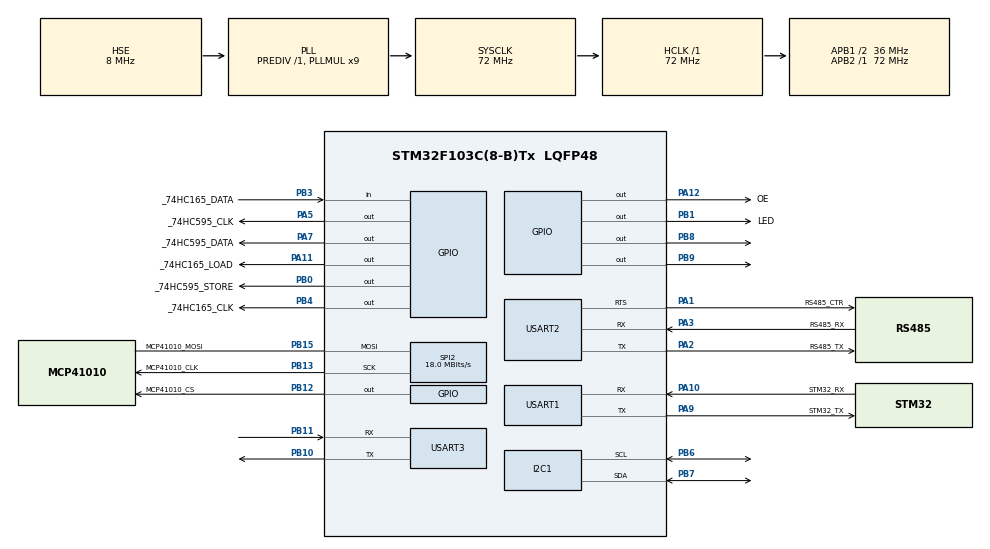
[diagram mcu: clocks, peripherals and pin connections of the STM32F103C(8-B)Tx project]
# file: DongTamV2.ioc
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Dma.Request0=USART1_RX
Dma.Request1=USART3_RX
Dma.USART1_RX.0.Direction=DMA_PERIPH_TO_MEMORY
Dma.USART1_RX.0.Instance=DMA1_Channel5
Dma.USART1_RX.0.MemDataAlignment=DMA_MDATAALIGN_BYTE
Dma.USART1_RX.0.MemInc=DMA_MINC_ENABLE
Dma.USART1_RX.0.Mode=DMA_NORMAL
Dma.USART1_RX.0.PeriphDataAlignment=DMA_PDATAALIGN_BYTE
Dma.USART1_RX.0.PeriphInc=DMA_PINC_DISABLE
Dma.USART1_RX.0.Priority=DMA_PRIORITY_LOW
Dma.USART3_RX.1.Direction=DMA_PERIPH_TO_MEMORY
Dma.USART3_RX.1.Instance=DMA1_Channel3
Dma.USART3_RX.1.MemDataAlignment=DMA_MDATAALIGN_BYTE
Dma.USART3_RX.1.MemInc=DMA_MINC_ENABLE
Dma.USART3_RX.1.Mode=DMA_NORMAL
Dma.USART3_RX.1.PeriphDataAlignment=DMA_PDATAALIGN_BYTE
Dma.USART3_RX.1.PeriphInc=DMA_PINC_DISABLE
Dma.USART3_RX.1.Priority=DMA_PRIORITY_LOW
Mcu.Family=STM32F1
Mcu.Name=STM32F103C(8-B)Tx
Mcu.Package=LQFP48
NVIC.DMA1_Channel3_IRQn=true\:0\:0\:false\:false\:true\:false\:true\:true
NVIC.DMA1_Channel5_IRQn=true\:0\:0\:false\:false\:true\:false\:true\:true
NVIC.I2C1_ER_IRQn=true\:0\:0\:false\:false\:true\:true\:true\:true
NVIC.I2C1_EV_IRQn=true\:0\:0\:false\:false\:true\:true\:true\:true
NVIC.PriorityGroup=NVIC_PRIORITYGROUP_4
NVIC.USART1_IRQn=true\:0\:0\:false\:false\:true\:true\:true\:true
NVIC.USART3_IRQn=true\:0\:0\:false\:false\:true\:true\:true\:true
PA1.GPIO_Label=RS485_CTR
PA1.Mode=RTS_Only
PA1.Signal=USART2_RTS
PA10.GPIO_Label=STM32_RX
PA10.Mode=Asynchronous
PA10.Signal=USART1_RX
PA11.GPIO_Label=_74HC165_LOAD
PA11.Signal=GPIO_Output
PA12.GPIO_Label=OE
PA12.GPIO_ModeDefaultOutputPP=GPIO_MODE_OUTPUT_OD
PA12.GPIO_PuPd=GPIO_NOPULL
PA12.Signal=GPIO_Output
PA13.Mode=Serial_Wire
PA13.Signal=SYS_JTMS-SWDIO
PA14.Mode=Serial_Wire
PA14.Signal=SYS_JTCK-SWCLK
PA2.GPIO_Label=RS485_TX
PA2.Mode=Asynchronous
PA2.Signal=USART2_TX
PA3.GPIO_Label=RS485_RX
PA3.Mode=Asynchronous
PA3.Signal=USART2_RX
PA5.GPIO_Label=_74HC595_CLK
PA5.GPIO_ModeDefaultOutputPP=GPIO_MODE_OUTPUT_PP
PA5.GPIO_PuPd=GPIO_NOPULL
PA5.GPIO_Speed=GPIO_SPEED_FREQ_HIGH
PA5.PinState=GPIO_PIN_RESET
PA5.Signal=GPIO_Output
PA7.GPIO_Label=_74HC595_DATA
PA7.GPIO_ModeDefaultOutputPP=GPIO_MODE_OUTPUT_PP
PA7.GPIO_PuPd=GPIO_NOPULL
PA7.GPIO_Speed=GPIO_SPEED_FREQ_HIGH
PA7.PinState=GPIO_PIN_RESET
PA7.Signal=GPIO_Output
PA9.GPIO_Label=STM32_TX
PA9.Mode=Asynchronous
PA9.Signal=USART1_TX
PB0.GPIO_Label=_74HC595_STORE
PB0.GPIO_ModeDefaultOutputPP=GPIO_MODE_OUTPUT_PP
PB0.GPIO_PuPd=GPIO_NOPULL
PB0.GPIO_Speed=GPIO_SPEED_FREQ_LOW
PB0.PinState=GPIO_PIN_RESET
PB0.Signal=GPIO_Output
PB1.GPIO_Label=LED
PB1.Signal=GPIO_Output
PB10.Mode=Asynchronous
PB10.Signal=USART3_TX
PB11.Mode=Asynchronous
PB11.Signal=USART3_RX
PB12.GPIO_Label=MCP41010_CS
PB12.Signal=GPIO_Output
PB13.GPIO_Label=MCP41010_CLK
PB13.Mode=Simplex_Bidirectional_Master
PB13.Signal=SPI2_SCK
PB15.GPIO_Label=MCP41010_MOSI
PB15.Mode=Simplex_Bidirectional_Master
PB15.Signal=SPI2_MOSI
PB3.GPIO_Label=_74HC165_DATA
PB3.Signal=GPIO_Input
PB4.GPIO_Label=_74HC165_CLK
PB4.Signal=GPIO_Output
PB6.Mode=I2C
PB6.Signal=I2C1_SCL
PB7.Mode=I2C
PB7.Signal=I2C1_SDA
PB8.GPIO_PuPd=GPIO_PULLUP
PB8.Signal=GPIO_Output
PB9.GPIO_PuPd=GPIO_PULLDOWN
PB9.Signal=GPIO_Output
PD0-OSC_IN.Mode=HSE-External-Oscillator
PD0-OSC_IN.Signal=RCC_OSC_IN
PD1-OSC_OUT.Mode=HSE-External-Oscillator
PD1-OSC_OUT.Signal=RCC_OSC_OUT
ProjectManager.HeapSize=0x200
ProjectManager.StackSize=0x400
ProjectManager.TargetToolchain=STM32CubeIDE
RCC.AHBFreq_Value=72000000
RCC.APB1CLKDivider=RCC_HCLK_DIV2
RCC.APB1Freq_Value=36000000
RCC.APB1TimFreq_Value=72000000
RCC.APB2Freq_Value=72000000
RCC.APB2TimFreq_Value=72000000
RCC.HCLKFreq_Value=72000000
RCC.PLLMUL=RCC_PLL_MUL9
RCC.PLLSourceVirtual=RCC_PLLSOURCE_HSE
RCC.SYSCLKFreq_VALUE=72000000
RCC.SYSCLKSource=RCC_SYSCLKSOURCE_PLLCLK
RCC.USBFreq_Value=72000000
SPI2.CalculateBaudRate=18.0 MBits/s
SPI2.Direction=SPI_DIRECTION_1LINE
SPI2.Mode=SPI_MODE_MASTER
SPI2.VirtualType=VM_MASTER
USART1.VirtualMode=VM_ASYNC
USART2.VirtualMode=VM_ASYNC
USART3.VirtualMode=VM_ASYNC
board=custom

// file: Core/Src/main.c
/* USER CODE BEGIN Header */
/**
  ******************************************************************************
  * @file           : main.c
  * @brief          : Main program body
  ******************************************************************************
  * @attention
  *
  * Copyright (c) 2023 STMicroelectronics.
  * All rights reserved.
  *
  * This software is licensed under terms that can be found in the LICENSE file
  * in the root directory of this software component.
  * If no LICENSE file comes with this software, it is provided AS-IS.
  *
  ******************************************************************************
  */
/* USER CODE END Header */
#include "main.h"

/* USER CODE BEGIN Includes */
#include "74HC595.h"
#include "74HC165.h"
#include "PCF8563.h"
#include "DS3231.h"
#include "string.h"
#include "AMS5915.h"
#include "Flag.h"
#include "cJSON.h"
#include "stdio.h"
/* USER CODE END Includes */

/* USER CODE BEGIN PM */
#define MAX_MESSAGE 200
#define FLAG_UART_ESP_RX_DONE (1<<0)
#define FLAG_UART_LOG_RX_DONE (1<<1)

#define FLAG_JSON_PACK_TIME (1<<0)
#define FLAG_JSON_PACK_PRESSURE (1<<1)
#define FLAG_JSON_UNPACK_MESSAGE (1<<2)
#define FLAG_JSON_NEW_MESSAGE (1<<3)
#define FLAG_JSON_GET_VAN_VALUE (1<<4)

#define FLAG_GET_PRESSURE (1<<0)
#define FLAG_SET_TIME (1<<1)
#define FLAG_GET_TIME (1<<2)
#define FLAG_SET_VAN (1<<3)
#define FLAG_CLEAR_VAN (1<<4)
#define FLAG_TRIG_VAN (1<<5)
/* USER CODE END PM */

I2C_HandleTypeDef hi2c1;

SPI_HandleTypeDef hspi2;

UART_HandleTypeDef huart1;
UART_HandleTypeDef huart2;
UART_HandleTypeDef huart3;
DMA_HandleTypeDef hdma_usart1_rx;
DMA_HandleTypeDef hdma_usart3_rx;

/* USER CODE BEGIN PV */
HC595 hc595;
HC165 hc165;
PCF8563_Handle pcfHandle;
AMS5915 ams;
cJSON *cjsCommon;
FlagGroup_t fUART,f1,fJS;
double p;
char TimeString[30];
int SetVan,ClearVan;
bool TrigVan = false;
char uartEsp32Buffer[MAX_MESSAGE],uartLogBuffer[MAX_MESSAGE];
uint16_t uartEsp32RxSize,uartLogRxSize;
/* USER CODE END PV */

void SystemClock_Config(void);
static void MX_GPIO_Init(void);
static void MX_DMA_Init(void);
static void MX_I2C1_Init(void);
static void MX_SPI2_Init(void);
static void MX_USART1_UART_Init(void);
static void MX_USART2_UART_Init(void);
static void MX_USART3_UART_Init(void);
/* USER CODE BEGIN PFP */
void SetUp();
void GetUartJson();
void HandleFlagCommand();
void PackageMessage(cJSON *cjs);
void UnpackMessage(cJSON *cjs);
//void UpdateStatusVan();
//HAL_StatusTypeDef ControlVanAndCheck();
/* USER CODE END PFP */

/* USER CODE BEGIN 0 */
void HAL_I2C_MasterRxCpltCallback(I2C_HandleTypeDef *hi2c)
{
	if(hi2c->Instance == I2C1){
	}
}
void HAL_UARTEx_RxEventCallback(UART_HandleTypeDef *huart, uint16_t Size){
	if(huart->Instance == USART1){
		HAL_UARTEx_ReceiveToIdle_DMA(huart, (uint8_t*)uartEsp32Buffer, MAX_MESSAGE);
		uartEsp32RxSize = Size;
		SETFLAG(fUART,FLAG_UART_ESP_RX_DONE);
	}
	if(huart->Instance == USART3){
		HAL_UARTEx_ReceiveToIdle_DMA(huart, (uint8_t*)uartLogBuffer, MAX_MESSAGE);
		uartLogRxSize = Size;
		SETFLAG(fUART,FLAG_UART_LOG_RX_DONE);
	}
}

void JSON_LOG(char * monitor)
{

}
/* USER CODE END 0 */

int main(void)
{

  /* MCU Configuration--------------------------------------------------------*/

  /* Reset of all peripherals, Initializes the Flash interface and the Systick. */

	HAL_Init();

  /* Configure the system clock */
  SystemClock_Config();

  /* Initialize all configured peripherals */
  MX_GPIO_Init();
  MX_DMA_Init();
  MX_I2C1_Init();
  MX_SPI2_Init();
  MX_USART1_UART_Init();
  MX_USART2_UART_Init();
  MX_USART3_UART_Init();
  /* USER CODE BEGIN 2 */
  SetUp();
  cjsCommon = cJSON_CreateObject();
  /* USER CODE END 2 */

  /* Infinite loop */
  /* USER CODE BEGIN WHILE */
  while (1)
  {
	  GetUartJson();
	  HandleFlagCommand();
	  PackageMessage(cjsCommon);
	  UnpackMessage(cjsCommon);
//	  if(TrigVan == TRUE){
//		  HAL_StatusTypeDef ControlVan();
//	  }
//	  if(!f1 && !fJS && CHECKFLAG(fJS,FLAG_JSON_NEW_MESSAGE)){
//		  cJSON_Delete(cjsCommon);
//	  }
//	AMS5915_ReadRaw(&ams);
//	p = AMS5915_CalPressure(&ams);
//	HAL_Delay(1000);
    /* USER CODE END WHILE */

  }
}

void SystemClock_Config(void)
{
  RCC_OscInitTypeDef RCC_OscInitStruct = {0};
  RCC_ClkInitTypeDef RCC_ClkInitStruct = {0};

  /** Initializes the RCC Oscillators according to the specified parameters
  * in the RCC_OscInitTypeDef structure.
  */
  RCC_OscInitStruct.OscillatorType = RCC_OSCILLATORTYPE_HSE;
  RCC_OscInitStruct.HSEState = RCC_HSE_ON;
  RCC_OscInitStruct.HSEPredivValue = RCC_HSE_PREDIV_DIV1;
  RCC_OscInitStruct.HSIState = RCC_HSI_ON;
  RCC_OscInitStruct.PLL.PLLState = RCC_PLL_ON;
  RCC_OscInitStruct.PLL.PLLSource = RCC_PLLSOURCE_HSE;
  RCC_OscInitStruct.PLL.PLLMUL = RCC_PLL_MUL9;
  if (HAL_RCC_OscConfig(&RCC_OscInitStruct) != HAL_OK)
  {
    Error_Handler();
  }

  /** Initializes the CPU, AHB and APB buses clocks
  */
  RCC_ClkInitStruct.ClockType = RCC_CLOCKTYPE_HCLK|RCC_CLOCKTYPE_SYSCLK
                              |RCC_CLOCKTYPE_PCLK1|RCC_CLOCKTYPE_PCLK2;
  RCC_ClkInitStruct.SYSCLKSource = RCC_SYSCLKSOURCE_PLLCLK;
  RCC_ClkInitStruct.AHBCLKDivider = RCC_SYSCLK_DIV1;
  RCC_ClkInitStruct.APB1CLKDivider = RCC_HCLK_DIV2;
  RCC_ClkInitStruct.APB2CLKDivider = RCC_HCLK_DIV1;

  if (HAL_RCC_ClockConfig(&RCC_ClkInitStruct, FLASH_LATENCY_2) != HAL_OK)
  {
    Error_Handler();
  }
}

static void MX_I2C1_Init(void)
{

  hi2c1.Instance = I2C1;
  hi2c1.Init.ClockSpeed = 100000;
  hi2c1.Init.DutyCycle = I2C_DUTYCYCLE_2;
  hi2c1.Init.OwnAddress1 = 0;
  hi2c1.Init.AddressingMode = I2C_ADDRESSINGMODE_7BIT;
  hi2c1.Init.DualAddressMode = I2C_DUALADDRESS_DISABLE;
  hi2c1.Init.OwnAddress2 = 0;
  hi2c1.Init.GeneralCallMode = I2C_GENERALCALL_DISABLE;
  hi2c1.Init.NoStretchMode = I2C_NOSTRETCH_DISABLE;
  if (HAL_I2C_Init(&hi2c1) != HAL_OK)
  {
    Error_Handler();
  }

}

static void MX_SPI2_Init(void)
{

  /* SPI2 parameter configuration*/
  hspi2.Instance = SPI2;
  hspi2.Init.Mode = SPI_MODE_MASTER;
  hspi2.Init.Direction = SPI_DIRECTION_1LINE;
  hspi2.Init.DataSize = SPI_DATASIZE_8BIT;
  hspi2.Init.CLKPolarity = SPI_POLARITY_LOW;
  hspi2.Init.CLKPhase = SPI_PHASE_1EDGE;
  hspi2.Init.NSS = SPI_NSS_SOFT;
  hspi2.Init.BaudRatePrescaler = SPI_BAUDRATEPRESCALER_2;
  hspi2.Init.FirstBit = SPI_FIRSTBIT_MSB;
  hspi2.Init.TIMode = SPI_TIMODE_DISABLE;
  hspi2.Init.CRCCalculation = SPI_CRCCALCULATION_DISABLE;
  hspi2.Init.CRCPolynomial = 10;
  if (HAL_SPI_Init(&hspi2) != HAL_OK)
  {
    Error_Handler();
  }

}

static void MX_USART1_UART_Init(void)
{

  huart1.Instance = USART1;
  huart1.Init.BaudRate = 115200;
  huart1.Init.WordLength = UART_WORDLENGTH_8B;
  huart1.Init.StopBits = UART_STOPBITS_1;
  huart1.Init.Parity = UART_PARITY_NONE;
  huart1.Init.Mode = UART_MODE_TX_RX;
  huart1.Init.HwFlowCtl = UART_HWCONTROL_NONE;
  huart1.Init.OverSampling = UART_OVERSAMPLING_16;
  if (HAL_UART_Init(&huart1) != HAL_OK)
  {
    Error_Handler();
  }

}

static void MX_USART2_UART_Init(void)
{

  huart2.Instance = USART2;
  huart2.Init.BaudRate = 115200;
  huart2.Init.WordLength = UART_WORDLENGTH_8B;
  huart2.Init.StopBits = UART_STOPBITS_1;
  huart2.Init.Parity = UART_PARITY_NONE;
  huart2.Init.Mode = UART_MODE_TX_RX;
  huart2.Init.HwFlowCtl = UART_HWCONTROL_RTS;
  huart2.Init.OverSampling = UART_OVERSAMPLING_16;
  if (HAL_UART_Init(&huart2) != HAL_OK)
  {
    Error_Handler();
  }

}

static void MX_USART3_UART_Init(void)
{

  huart3.Instance = USART3;
  huart3.Init.BaudRate = 115200;
  huart3.Init.WordLength = UART_WORDLENGTH_8B;
  huart3.Init.StopBits = UART_STOPBITS_1;
  huart3.Init.Parity = UART_PARITY_NONE;
  huart3.Init.Mode = UART_MODE_TX_RX;
  huart3.Init.HwFlowCtl = UART_HWCONTROL_NONE;
  huart3.Init.OverSampling = UART_OVERSAMPLING_16;
  if (HAL_UART_Init(&huart3) != HAL_OK)
  {
    Error_Handler();
  }

}

static void MX_DMA_Init(void)
{

  /* DMA controller clock enable */
  __HAL_RCC_DMA1_CLK_ENABLE();

  /* DMA interrupt init */
  /* DMA1_Channel3_IRQn interrupt configuration */
  HAL_NVIC_SetPriority(DMA1_Channel3_IRQn, 0, 0);
  HAL_NVIC_EnableIRQ(DMA1_Channel3_IRQn);
  /* DMA1_Channel5_IRQn interrupt configuration */
  HAL_NVIC_SetPriority(DMA1_Channel5_IRQn, 0, 0);
  HAL_NVIC_EnableIRQ(DMA1_Channel5_IRQn);

}

static void MX_GPIO_Init(void)
{
  GPIO_InitTypeDef GPIO_InitStruct = {0};

  /* GPIO Ports Clock Enable */
  __HAL_RCC_GPIOC_CLK_ENABLE();
  __HAL_RCC_GPIOD_CLK_ENABLE();
  __HAL_RCC_GPIOA_CLK_ENABLE();
  __HAL_RCC_GPIOB_CLK_ENABLE();

  /*Configure GPIO pin Output Level */
  HAL_GPIO_WritePin(GPIOA, _74HC595_CLK_Pin|_74HC595_DATA_Pin|_74HC165_LOAD_Pin|OE_Pin, GPIO_PIN_RESET);

  /*Configure GPIO pin Output Level */
  HAL_GPIO_WritePin(GPIOB, _74HC595_STORE_Pin|LED_Pin|MCP41010_CS_Pin|_74HC165_CLK_Pin
                          |GPIO_PIN_8|GPIO_PIN_9, GPIO_PIN_RESET);

  /*Configure GPIO pins : PC13 PC14 PC15 */
  GPIO_InitStruct.Pin = GPIO_PIN_13|GPIO_PIN_14|GPIO_PIN_15;
  GPIO_InitStruct.Mode = GPIO_MODE_ANALOG;
  HAL_GPIO_Init(GPIOC, &GPIO_InitStruct);

  /*Configure GPIO pins : PA0 PA4 PA6 PA8
                           PA15 */
  GPIO_InitStruct.Pin = GPIO_PIN_0|GPIO_PIN_4|GPIO_PIN_6|GPIO_PIN_8
                          |GPIO_PIN_15;
  GPIO_InitStruct.Mode = GPIO_MODE_ANALOG;
  HAL_GPIO_Init(GPIOA, &GPIO_InitStruct);

  /*Configure GPIO pins : _74HC595_CLK_Pin _74HC595_DATA_Pin */
  GPIO_InitStruct.Pin = _74HC595_CLK_Pin|_74HC595_DATA_Pin;
  GPIO_InitStruct.Mode = GPIO_MODE_OUTPUT_PP;
  GPIO_InitStruct.Pull = GPIO_NOPULL;
  GPIO_InitStruct.Speed = GPIO_SPEED_FREQ_HIGH;
  HAL_GPIO_Init(GPIOA, &GPIO_InitStruct);

  /*Configure GPIO pins : _74HC595_STORE_Pin LED_Pin MCP41010_CS_Pin _74HC165_CLK_Pin */
  GPIO_InitStruct.Pin = _74HC595_STORE_Pin|LED_Pin|MCP41010_CS_Pin|_74HC165_CLK_Pin;
  GPIO_InitStruct.Mode = GPIO_MODE_OUTPUT_PP;
  GPIO_InitStruct.Pull = GPIO_NOPULL;
  GPIO_InitStruct.Speed = GPIO_SPEED_FREQ_LOW;
  HAL_GPIO_Init(GPIOB, &GPIO_InitStruct);

  /*Configure GPIO pins : PB2 PB14 PB5 */
  GPIO_InitStruct.Pin = GPIO_PIN_2|GPIO_PIN_14|GPIO_PIN_5;
  GPIO_InitStruct.Mode = GPIO_MODE_ANALOG;
  HAL_GPIO_Init(GPIOB, &GPIO_InitStruct);

  /*Configure GPIO pin : _74HC165_LOAD_Pin */
  GPIO_InitStruct.Pin = _74HC165_LOAD_Pin;
  GPIO_InitStruct.Mode = GPIO_MODE_OUTPUT_PP;
  GPIO_InitStruct.Pull = GPIO_NOPULL;
  GPIO_InitStruct.Speed = GPIO_SPEED_FREQ_LOW;
  HAL_GPIO_Init(_74HC165_LOAD_GPIO_Port, &GPIO_InitStruct);

  /*Configure GPIO pin : OE_Pin */
  GPIO_InitStruct.Pin = OE_Pin;
  GPIO_InitStruct.Mode = GPIO_MODE_OUTPUT_OD;
  GPIO_InitStruct.Pull = GPIO_NOPULL;
  GPIO_InitStruct.Speed = GPIO_SPEED_FREQ_LOW;
  HAL_GPIO_Init(OE_GPIO_Port, &GPIO_InitStruct);

  /*Configure GPIO pin : _74HC165_DATA_Pin */
  GPIO_InitStruct.Pin = _74HC165_DATA_Pin;
  GPIO_InitStruct.Mode = GPIO_MODE_INPUT;
  GPIO_InitStruct.Pull = GPIO_NOPULL;
  HAL_GPIO_Init(_74HC165_DATA_GPIO_Port, &GPIO_InitStruct);

  /*Configure GPIO pin : PB8 */
  GPIO_InitStruct.Pin = GPIO_PIN_8;
  GPIO_InitStruct.Mode = GPIO_MODE_OUTPUT_PP;
  GPIO_InitStruct.Pull = GPIO_PULLUP;
  GPIO_InitStruct.Speed = GPIO_SPEED_FREQ_LOW;
  HAL_GPIO_Init(GPIOB, &GPIO_InitStruct);

  /*Configure GPIO pin : PB9 */
  GPIO_InitStruct.Pin = GPIO_PIN_9;
  GPIO_InitStruct.Mode = GPIO_MODE_OUTPUT_PP;
  GPIO_InitStruct.Pull = GPIO_PULLDOWN;
  GPIO_InitStruct.Speed = GPIO_SPEED_FREQ_LOW;
  HAL_GPIO_Init(GPIOB, &GPIO_InitStruct);

}

/* USER CODE BEGIN 4 */
void HandleFlagCommand()
{
	if(CHECKFLAG(f1,FLAG_GET_PRESSURE)){
		AMS5915_ReadRaw(&ams);
		p = AMS5915_CalPressure(&ams);
		SETFLAG(fJS,FLAG_JSON_PACK_PRESSURE);
		CLEARFLAG(f1,FLAG_GET_PRESSURE);
	}
	if(CHECKFLAG(f1,FLAG_SET_VAN)){
		HC595_SetBitOutput(SetVan);
		CLEARFLAG(f1,FLAG_SET_VAN);
	}
	if(CHECKFLAG(f1,FLAG_CLEAR_VAN)){
		HC595_ClearBitOutput(ClearVan);
		CLEARFLAG(f1,FLAG_CLEAR_VAN);
	}
	if(CHECKFLAG(f1,FLAG_TRIG_VAN)){
		HC595_ShiftOut(NULL, 2, 1);
		CLEARFLAG(f1,FLAG_TRIG_VAN);
	}
	if(CHECKFLAG(f1,FLAG_SET_TIME)){
		pcfHandle.t = RTC_GetTimeFromString(TimeString);
		PCF8563_WriteTimeRegisters(pcfHandle.t);
		HAL_UART_Transmit(&huart3, (uint8_t*)"SetTimeOK", sizeof("SetTimeOK"), HAL_MAX_DELAY);
		SETFLAG(f1,FLAG_GET_TIME);
		memset(TimeString,0,strlen(TimeString));
		CLEARFLAG(f1,FLAG_SET_TIME);
	}
	if(CHECKFLAG(f1,FLAG_GET_TIME)){
		pcfHandle.t = PCF8563_ReadTimeRegisters();
		RTC_PackTimeToString(&pcfHandle.t, TimeString);
		SETFLAG(fJS,FLAG_JSON_PACK_TIME);
		CLEARFLAG(f1,FLAG_GET_TIME);
	}
}

void PackageMessage(cJSON *cjs)
{
	if(CHECKFLAG(fJS,FLAG_JSON_PACK_PRESSURE)){
		cJSON_AddNumberToObject(cjs, "Pressure", p);
		char s[50];
		strcpy(s,"Pressure:");
		strcat(s,cJSON_Print(cJSON_GetObjectItemCaseSensitive(cjs, "Pressure")));
		strcat(s,"\n");
		HAL_UART_Transmit(&huart3, (uint8_t*)s, strlen(s), HAL_MAX_DELAY);
		cJSON_DeleteItemFromObjectCaseSensitive(cjs, "Pressure");
		p=0;
		CLEARFLAG(fJS,FLAG_JSON_PACK_PRESSURE);
	}
	if(CHECKFLAG(fJS,FLAG_JSON_PACK_TIME)){
		cJSON_AddStringToObject(cjs, "Time", TimeString);
		char s[50];
		strcpy(s,"Time:");
		strcat(s,cJSON_Print(cJSON_GetObjectItemCaseSensitive(cjs, "Time")));
		strcat(s,"\n");
		HAL_UART_Transmit(&huart3, (uint8_t*)s, strlen(s), HAL_MAX_DELAY);
		cJSON_DeleteItemFromObjectCaseSensitive(cjs, "Time");
		memset(TimeString,0,strlen(TimeString));
		CLEARFLAG(fJS,FLAG_JSON_PACK_TIME);
	}
	if(CHECKFLAG(fJS,FLAG_JSON_GET_VAN_VALUE)){
		cJSON_AddNumberToObject(cjs, "VanValue", hc595.data);
		char s[50];
		strcpy(s,"VanValue:");
		strcat(s,cJSON_Print(cJSON_GetObjectItemCaseSensitive(cjs, "VanValue")));
		strcat(s,"\n");
		HAL_UART_Transmit(&huart3, (uint8_t*)s, strlen(s), HAL_MAX_DELAY);
		cJSON_DeleteItemFromObjectCaseSensitive(cjs, "VanValue");
		CLEARFLAG(fJS,FLAG_JSON_GET_VAN_VALUE);
	}
}

void UnpackMessage(cJSON *cjs)
{
	if(!CHECKFLAG(fJS,FLAG_JSON_UNPACK_MESSAGE)) return;
	CLEARFLAG(fJS,FLAG_JSON_UNPACK_MESSAGE);
	if(cJSON_HasObjectItem(cjs,"GPressure")) {
		cJSON_DeleteItemFromObjectCaseSensitive(cjs, "GPressure");
		SETFLAG(f1,FLAG_GET_PRESSURE);
	}
	if(cJSON_HasObjectItem(cjs,"SVan")) {
		SetVan = cJSON_GetNumberValue(cJSON_GetObjectItemCaseSensitive(cjs, "SVan"));
		cJSON_DeleteItemFromObjectCaseSensitive(cjs, "SVan");
		SETFLAG(f1,FLAG_SET_VAN);
	}
	if(cJSON_HasObjectItem(cjs,"CVan")) {
		ClearVan = cJSON_GetNumberValue(cJSON_GetObjectItemCaseSensitive(cjs, "CVan"));
		cJSON_DeleteItemFromObjectCaseSensitive(cjs, "CVan");
		SETFLAG(f1,FLAG_CLEAR_VAN);
	}
	if(cJSON_HasObjectItem(cjs,"TrigVan")){
		if(cJSON_IsTrue((cJSON_GetObjectItemCaseSensitive(cjs, "TrigVan")))) SETFLAG(f1,FLAG_TRIG_VAN);
		cJSON_DeleteItemFromObjectCaseSensitive(cjs, "TrigVan");
	}
	if(cJSON_HasObjectItem(cjs,"STime")) {
		strcpy(TimeString,cJSON_GetStringValue(cJSON_GetObjectItemCaseSensitive(cjs, "STime")));
		cJSON_DeleteItemFromObjectCaseSensitive(cjs, "STime");
		SETFLAG(f1,FLAG_SET_TIME);
	}
	if(cJSON_HasObjectItem(cjs,"GTime")) {
		cJSON_DeleteItemFromObjectCaseSensitive(cjs, "GTime");
		SETFLAG(f1,FLAG_GET_TIME);
	}
	if(cJSON_HasObjectItem(cjs,"VanValue")) {
		cJSON_DeleteItemFromObjectCaseSensitive(cjs, "VanValue");
		SETFLAG(fJS,FLAG_JSON_GET_VAN_VALUE);
	}
}

void PerformTrigVanSequence()
{

}

void GetUartJson()
{
	if(CHECKFLAG(fUART,FLAG_UART_ESP_RX_DONE)){
		cjsCommon = cJSON_Parse(uartEsp32Buffer);
		memset(uartEsp32Buffer,0,uartEsp32RxSize);
		SETFLAG(fJS,FLAG_JSON_UNPACK_MESSAGE);
		CLEARFLAG(fUART,FLAG_UART_ESP_RX_DONE);
	}
	if(CHECKFLAG(fUART,FLAG_UART_LOG_RX_DONE)){
		cjsCommon = cJSON_Parse(uartLogBuffer);
		memset(uartLogBuffer,0,uartLogRxSize);
		SETFLAG(fJS,FLAG_JSON_UNPACK_MESSAGE);
		CLEARFLAG(fUART,FLAG_UART_LOG_RX_DONE);
	}
}

void UartIdle_Init()
{
	HAL_UARTEx_ReceiveToIdle_DMA(&huart1, (uint8_t*)uartEsp32Buffer, MAX_MESSAGE);
	HAL_UARTEx_ReceiveToIdle_DMA(&huart3, (uint8_t*)uartLogBuffer, MAX_MESSAGE);
	__HAL_DMA_DISABLE_IT(&hdma_usart1_rx,DMA_IT_HT);
	__HAL_DMA_DISABLE_IT(&hdma_usart3_rx,DMA_IT_HT);
}

void hc595_SetUp()
{
	HC595_AssignPin(&hc595, GPIOA, GPIO_PIN_5, HC595_CLK);
	HC595_AssignPin(&hc595, GPIOA, GPIO_PIN_7, HC595_DS);
	HC595_AssignPin(&hc595, GPIOB, GPIO_PIN_0, HC595_LATCH);
	HC595_AssignPin(&hc595, GPIOA, GPIO_PIN_12,HC595_OE);
	HC595_Enable();
}

void hc165_SetUp(){
	HC165_AssignPin(&hc165, GPIOA, GPIO_PIN_11, HC165_PL);
	HC165_AssignPin(&hc165, GPIOB, GPIO_PIN_3, HC165_DATA);
	HC165_AssignPin(&hc165, GPIOA, GPIO_PIN_12, HC165_CE);
	HC165_AssignPin(&hc165, GPIOB, GPIO_PIN_4, HC165_CP);
}

void SetUp()
{
	AMS5915_Init(&ams,&hi2c1);
	PCF8563_Init(&pcfHandle, &hi2c1);
	PCF8563_StartClock();
	UartIdle_Init();
	hc165_SetUp();
	hc595_SetUp();
}

//void UpdateStatusVan(){
//	if(CHECKFLAG(f1, FLAG_SET_VAN)){
//		hc595.data |= (0x01 << SetVan);
//	}
//	if(CHECKFLAG(f1,FLAG_CLEAR_VAN)){
//		hc595.data &= ClearVan;
//	}
//}
//HAL_StatusTypeDef ControlVanAndCheck(){
//
//
//	return HAL_OK;
//}

/* USER CODE END 4 */

void Error_Handler(void)
{
  __disable_irq();
  while (1)
  {
  }
}
